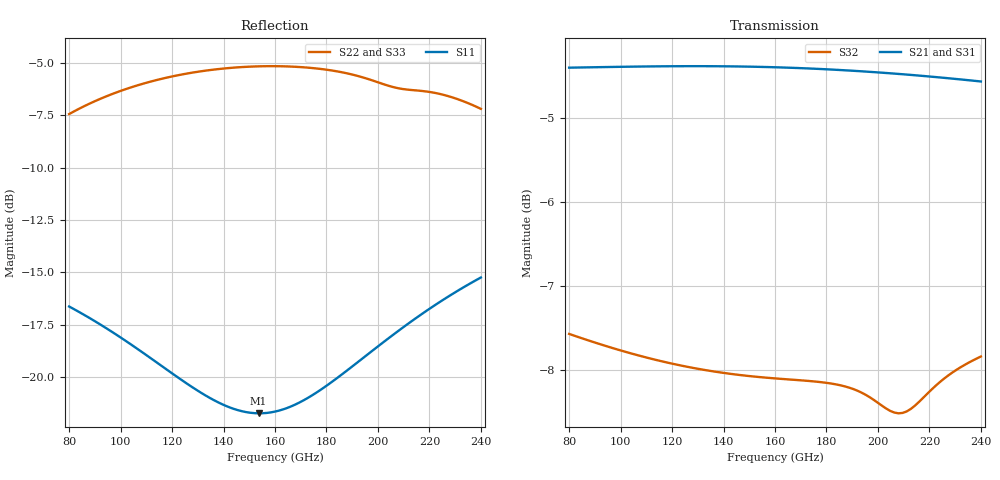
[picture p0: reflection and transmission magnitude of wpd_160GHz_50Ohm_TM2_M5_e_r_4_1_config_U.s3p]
#  GHZ S DB R 50.0
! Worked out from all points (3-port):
!   101 points, 80 GHz to 240 GHz, reference 50 ohm
!   strongest paths, dB at 80 GHz, 120 GHz, 160 GHz, 200 GHz, 240 GHz:
!     S21: -4.4, -4.4, -4.4, -4.5, -4.6
!     S31: -4.4, -4.4, -4.4, -4.5, -4.6
!     S32: -7.6, -7.9, -8.1, -8.4, -7.8
!   lowest |S11| = -21.7 dB at 153.6 GHz (marker M1), VSWR 1.18, Z = 42.4 + j0.0116 ohm
!   |S11| at or under -10 dB: start of sweep to end of sweep
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80  -16.63 156.0  -4.41 -45.6  -4.41 -45.6
    -4.41 -45.6  -7.45 41.6  -7.57 -94.3
    -4.41 -45.6  -7.57 -94.3  -7.44 41.6
99.2  -18.05 154.9  -4.40 -56.6  -4.40 -56.6
      -4.40 -56.6  -6.38 29.3  -7.76 -115.6
      -4.40 -56.6  -7.76 -115.6  -6.37 29.4
120  -19.82 158.5  -4.39 -68.6  -4.39 -68.6
     -4.39 -68.6  -5.65 17.0  -7.92 -138.4
     -4.39 -68.6  -7.92 -138.4  -5.65 17.0
139.2  -21.28 168.4  -4.39 -79.7  -4.40 -79.7
       -4.39 -79.7  -5.28 6.1  -8.03 -159.4
       -4.40 -79.7  -8.03 -159.4  -5.28 6.2
153.6  -21.73 179.9  -4.40 -88.1  -4.40 -88.1
       -4.40 -88.1  -5.17 -2.0  -8.08 -175.0
       -4.40 -88.1  -8.08 -175.0  -5.16 -1.9
160  -21.65 -174.6  -4.40 -91.8  -4.41 -91.8
     -4.40 -91.8  -5.16 -5.5  -8.10 178.0
     -4.41 -91.8  -8.10 178.0  -5.15 -5.4
177.6  -20.62 -161.9  -4.42 -102.1  -4.43 -102.0
       -4.42 -102.1  -5.29 -15.4  -8.14 158.5
       -4.43 -102.0  -8.14 158.5  -5.28 -15.3
195.2  -19.00 -155.0  -4.45 -112.3  -4.46 -112.2
       -4.45 -112.3  -5.73 -25.2  -8.29 138.9
       -4.46 -112.2  -8.29 138.9  -5.73 -25.0
220.8  -16.68 -153.4  -4.52 -127.1  -4.52 -127.0
       -4.52 -127.1  -6.40 -36.7  -8.23 114.5
       -4.52 -127.0  -8.23 114.5  -6.40 -36.5
240  -15.25 -156.1  -4.57 -138.2  -4.58 -138.1
     -4.57 -138.2  -7.20 -49.1  -7.84 92.9
     -4.58 -138.1  -7.84 92.9  -7.19 -49.0
